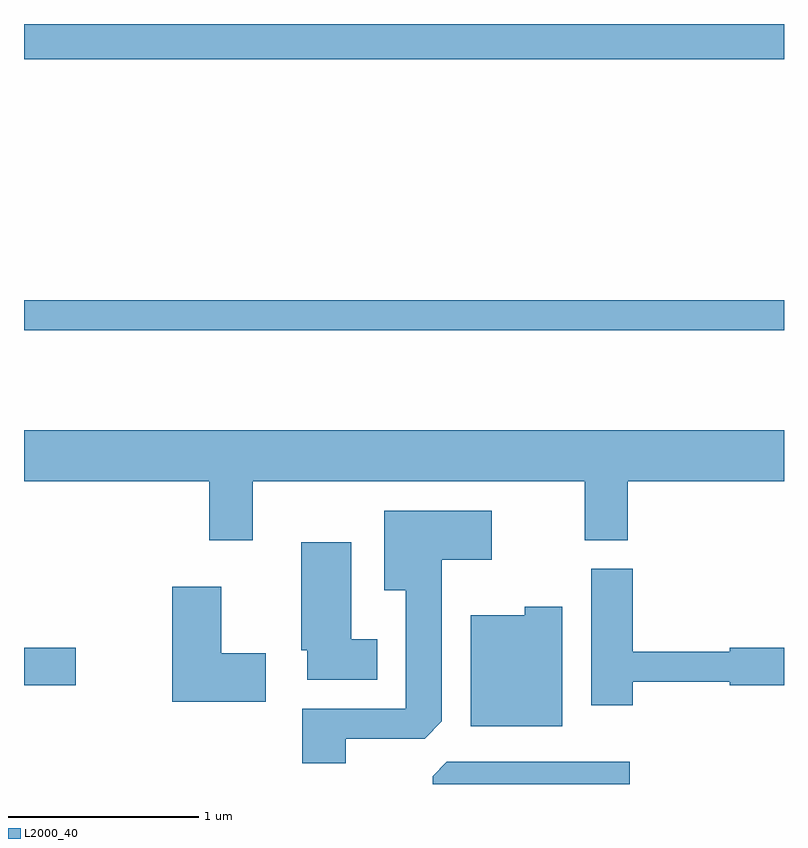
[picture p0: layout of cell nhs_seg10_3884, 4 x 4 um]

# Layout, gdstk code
import gdstk
lib = gdstk.Library(unit=1e-6, precision=1e-09)
def R(c, l, rs):  # rectangles x0, y0, x1, y1
    for r in rs: c.add(gdstk.rectangle(r[:2], r[2:], *l))
def P(c, l, *ps):  # polygons
    for p in ps: c.add(gdstk.Polygon(p, *l))
L2000_40 = (2000, 40)

nhs_seg10_3884 = lib.new_cell('nhs_seg10_3884')
R(nhs_seg10_3884, L2000_40, [(299.611,2135.041,299.884,2135.239), (299.611,2136.911,303.611,2137.069), (299.611,2138.336,303.611,2138.522)])
P(nhs_seg10_3884, L2000_40, [(300.814,2136.116),(302.561,2136.116),(302.561,2135.806),(302.789,2135.806),(302.789,2136.116),(303.611,2136.116),(303.611,2136.384),(299.611,2136.384),(299.611,2136.116),(300.586,2136.116),(300.586,2135.806),(300.814,2135.806)],
  [(301.304,2134.761),(301.719,2134.761),(301.809,2134.852),(301.809,2135.701),(302.074,2135.701),(302.074,2135.959),(301.506,2135.959),(301.506,2135.541),(301.621,2135.541),(301.621,2134.919),(301.076,2134.919),(301.076,2134.631),(301.304,2134.631)],
  [(301.469,2135.284),(301.334,2135.284),(301.334,2135.794),(301.071,2135.794),(301.071,2135.226),(301.101,2135.226),(301.101,2135.071),(301.469,2135.071)],
  [(302.814,2135.061),(303.326,2135.061),(303.326,2135.041),(303.611,2135.041),(303.611,2135.239),(303.326,2135.239),(303.326,2135.219),(302.814,2135.219),(302.814,2135.654),(302.596,2135.654),(302.596,2134.936),(302.814,2134.936)],
  [(300.884,2135.209),(300.649,2135.209),(300.649,2135.559),(300.391,2135.559),(300.391,2134.956),(300.884,2134.956)],
  [(302.444,2135.454),(302.246,2135.454),(302.246,2135.409),(301.961,2135.409),(301.961,2134.826),(302.444,2134.826)],
  [(302.798,2134.639),(301.837,2134.639),(301.761,2134.564),(301.761,2134.522),(302.798,2134.522)])

lib.write_gds('nhs_seg10_3884.gds')
